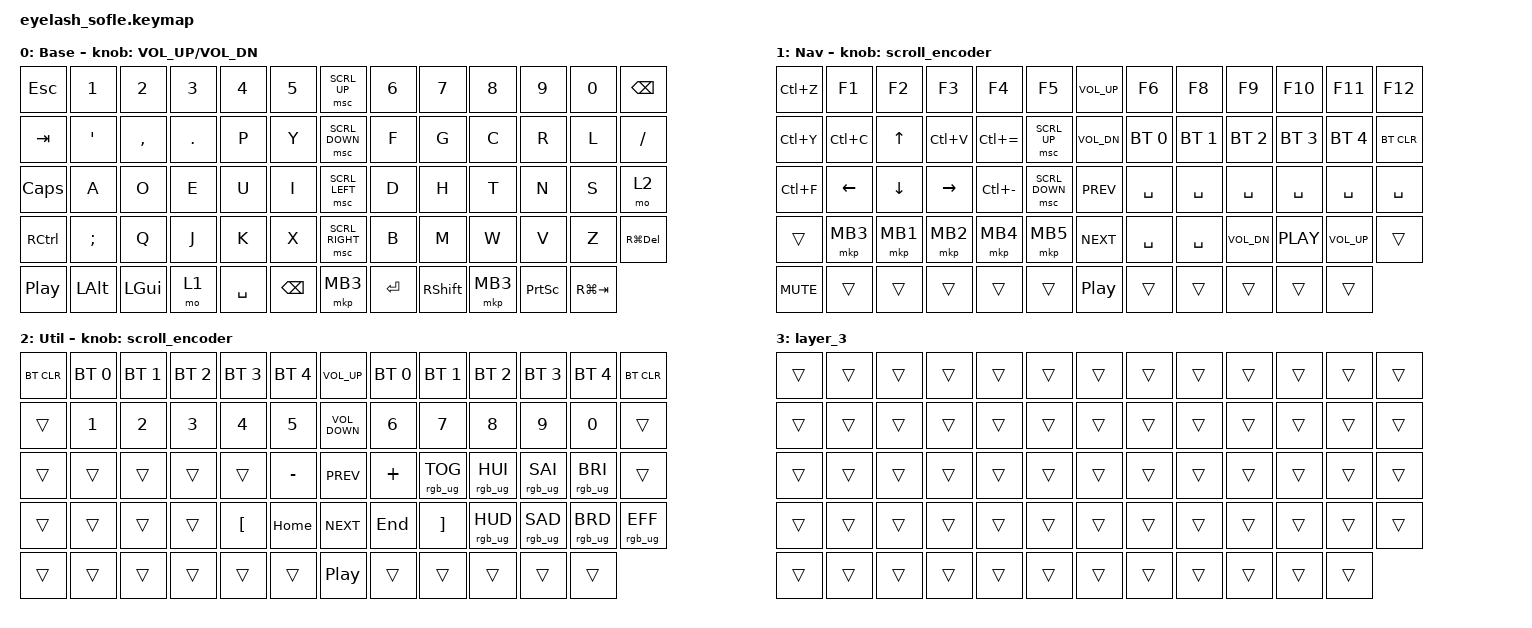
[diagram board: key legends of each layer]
#define ZMK_POINTING_DEFAULT_MOVE_VAL 1200  // 600
#define ZMK_POINTING_DEFAULT_SCRL_VAL 25   // 10

#include <input/processors.dtsi>
#include <zephyr/dt-bindings/input/input-event-codes.h>
#include <behaviors.dtsi>
#include <dt-bindings/zmk/bt.h>
#include <dt-bindings/zmk/keys.h>
#include <dt-bindings/zmk/pointing.h>
#include <dt-bindings/zmk/rgb.h>

&mmv_input_listener { input-processors = <&zip_xy_scaler 2 1>; };

&msc_input_listener { input-processors = <&zip_scroll_scaler 2 1>; };

&msc {
    acceleration-exponent = <1>;      // 0
    time-to-max-speed-ms = <100>;       // 300
    delay-ms = <0>;                   // 0
};

&mmv {
    time-to-max-speed-ms = <500>;
    acceleration-exponent = <1>;
    trigger-period-ms = <16>;
};

/ {
    scroll_encoder: scroll_encoder {
        compatible = "zmk,behavior-sensor-rotate";
        #sensor-binding-cells = <0>;
        bindings = <&msc SCRL_DOWN>, <&msc SCRL_UP>;

        tap-ms = <100>;
    };

    behaviors {
    };

    keymap {
        compatible = "zmk,keymap";

        layer0 {
            bindings = <
&kp ESC           &kp N1         &kp N2        &kp N3      &kp N4     &kp N5           &msc SCRL_UP     &kp N6     &kp N7           &kp N8    &kp N9           &kp N0       &kp BACKSPACE
&kp TAB           &kp SQT        &kp COMMA     &kp PERIOD  &kp P      &kp Y            &msc SCRL_DOWN   &kp F      &kp G            &kp C     &kp R            &kp L        &kp SLASH
&kp CAPS          &kp A          &kp O         &kp E       &kp U      &kp I            &msc SCRL_LEFT   &kp D      &kp H            &kp T     &kp N            &kp S        &mo 2
&kp RCTRL         &kp SEMICOLON  &kp Q         &kp J       &kp K      &kp X            &msc SCRL_RIGHT  &kp B      &kp M            &kp W     &kp V            &kp Z        &kp RG(DELETE)
&kp C_PLAY_PAUSE  &kp LEFT_ALT   &kp LEFT_GUI  &mo 1       &kp SPACE  &kp BACKSPACE    &mkp MB3         &kp ENTER  &kp RIGHT_SHIFT  &mkp MB3  &kp PRINTSCREEN  &kp RG(TAB)
            >;

            sensor-bindings = <&inc_dec_kp C_VOLUME_UP C_VOL_DN>;
            display-name = "Base ";
        };

        layer_1 {
            bindings = <
&kp LC(Z)   &kp F1     &kp F2    &kp F3     &kp F4         &kp F5            &kp C_VOLUME_UP   &kp F6        &kp F8        &kp F9        &kp F10       &kp F11       &kp F12
&kp LC(Y)   &kp LC(C)  &kp UP    &kp LC(V)  &kp LC(EQUAL)  &msc SCRL_UP      &kp C_VOL_DN      &bt BT_SEL 0  &bt BT_SEL 1  &bt BT_SEL 2  &bt BT_SEL 3  &bt BT_SEL 4  &bt BT_CLR
&kp LC(F)   &kp LEFT   &kp DOWN  &kp RIGHT  &kp LC(MINUS)  &msc SCRL_DOWN    &kp C_PREV        &kp SPACE     &kp SPACE     &kp SPACE     &kp SPACE     &kp SPACE     &kp SPACE
&trans      &mkp MB3   &mkp MB1  &mkp MB2   &mkp MB4       &mkp MB5          &kp C_NEXT        &kp SPACE     &kp SPACE     &kp C_VOL_DN  &kp C_PLAY    &kp C_VOL_UP  &trans
&kp C_MUTE  &trans     &trans    &trans     &trans         &trans            &kp C_PLAY_PAUSE  &trans        &trans        &trans        &trans        &trans
            >;

            display-name = "Nav";
            sensor-bindings = <&scroll_encoder>;
        };

        Util {
            bindings = <
&bt BT_CLR  &bt BT_SEL 0  &bt BT_SEL 1  &bt BT_SEL 2  &bt BT_SEL 3      &bt BT_SEL 4    &kp C_VOLUME_UP    &bt BT_SEL 0  &bt BT_SEL 1       &bt BT_SEL 2     &bt BT_SEL 3     &bt BT_SEL 4     &bt BT_CLR
&trans      &kp N1        &kp N2        &kp N3        &kp N4            &kp N5          &kp C_VOLUME_DOWN  &kp N6        &kp N7             &kp N8           &kp N9           &kp N0           &trans
&trans      &trans        &trans        &trans        &trans            &kp MINUS       &kp K_PREV         &kp PLUS      &rgb_ug RGB_TOG    &rgb_ug RGB_HUI  &rgb_ug RGB_SAI  &rgb_ug RGB_BRI  &trans
&trans      &trans        &trans        &trans        &kp LEFT_BRACKET  &kp HOME        &kp K_NEXT         &kp END       &kp RIGHT_BRACKET  &rgb_ug RGB_HUD  &rgb_ug RGB_SAD  &rgb_ug RGB_BRD  &rgb_ug RGB_EFF
&trans      &trans        &trans        &trans        &trans            &trans          &kp C_PLAY_PAUSE   &trans        &trans             &trans           &trans           &trans
            >;

            sensor-bindings = <&scroll_encoder>;
        };

        layer_3 {
            bindings = <
&trans  &trans  &trans  &trans  &trans  &trans    &trans  &trans  &trans  &trans  &trans  &trans  &trans
&trans  &trans  &trans  &trans  &trans  &trans    &trans  &trans  &trans  &trans  &trans  &trans  &trans
&trans  &trans  &trans  &trans  &trans  &trans    &trans  &trans  &trans  &trans  &trans  &trans  &trans
&trans  &trans  &trans  &trans  &trans  &trans    &trans  &trans  &trans  &trans  &trans  &trans  &trans
&trans  &trans  &trans  &trans  &trans  &trans    &trans  &trans  &trans  &trans  &trans  &trans
            >;
        };
    };
};
